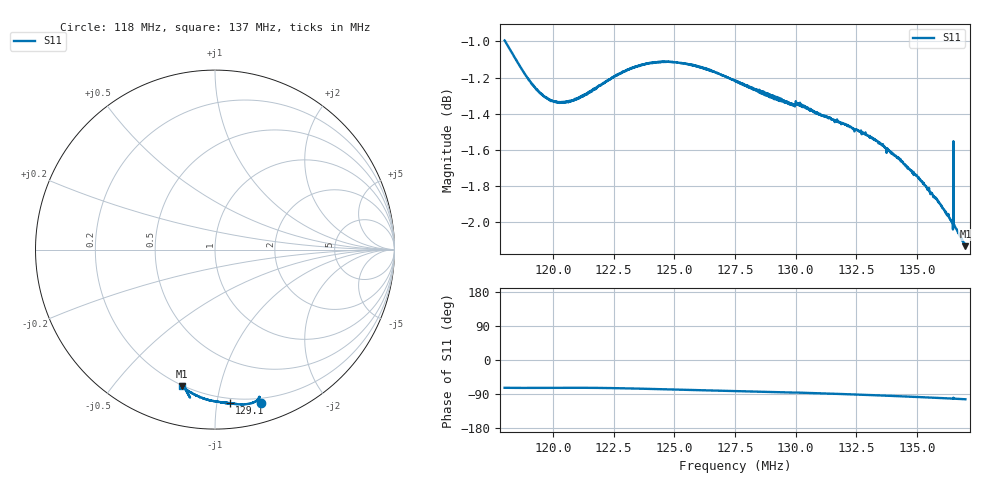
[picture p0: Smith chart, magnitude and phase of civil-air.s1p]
! Calibrated averaged scanner-service zoom
# Hz S RI R 50
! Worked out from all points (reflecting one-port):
!   2001 points, 118 MHz to 137 MHz, reference 50 ohm
!   lowest |S11| = -2.1 dB at 137 MHz (marker M1), VSWR 8.18, Z = 9.81 - j38.4 ohm
!   phase of S11 starts at -73 deg and turns -30 deg over the sweep
!   S11 on the Smith chart (normalised r, x): 118 MHz: 0.16, -1.33; 129.1 MHz: 0.17, -1.09; 137 MHz: 0.20, -0.77
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1.18e8  0.2559 -0.8543
1.1857e8  0.2476 -0.843
1.19045e8  0.2441 -0.8337
1.196815e8  0.2439 -0.8246
1.19995e8  0.2451 -0.822
1.20375e8  0.2461 -0.8212
1.21002e8  0.2471 -0.8228
1.21629e8  0.2453 -0.8284
1.22256e8  0.2396 -0.8356
1.2275e8  0.2329 -0.8416
1.23814e8  0.2129 -0.8524
1.25125e8  0.1818 -0.8605
1.262555e8  0.1529 -0.8628
1.275e8  0.1208 -0.8607
1.29058e8  0.0821 -0.8561
1.29875e8  0.0608 -0.8535
1.30103e8  0.0587 -0.8543
1.3225e8  -0.00899 -0.844
1.334185e8  -0.0501 -0.8336
1.34226e8  -0.0789 -0.8239
1.34625e8  -0.0935 -0.8172
1.350525e8  -0.1101 -0.8095
1.357935e8  -0.1381 -0.7944
1.364015e8  -0.161 -0.7788
1.36411e8  -0.1614 -0.7782
1.36601e8  -0.1687 -0.7731
1.366105e8  -0.1689 -0.7728
1.37e8  -0.1838 -0.7601
